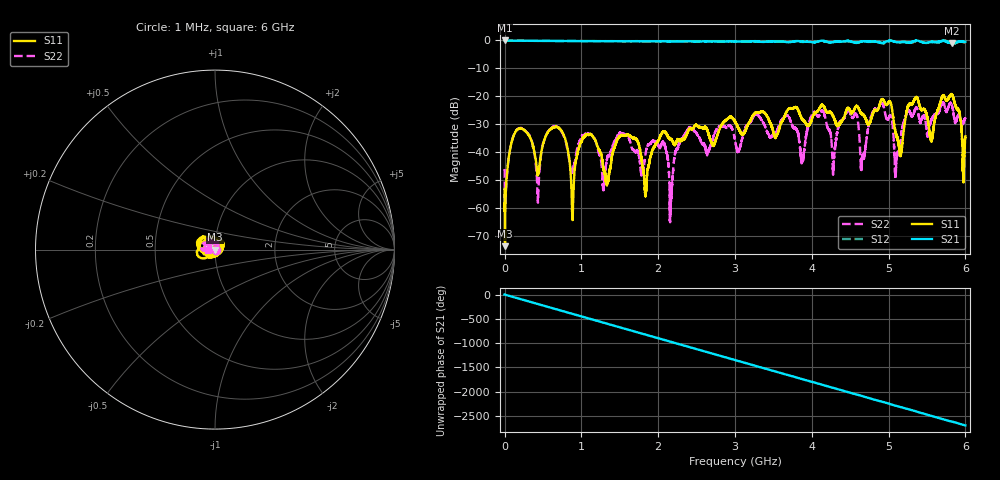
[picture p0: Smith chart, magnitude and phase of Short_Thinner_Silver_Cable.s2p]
# GHZ S RI R 50.000000000000
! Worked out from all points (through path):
!   10000 points, 1 MHz to 6 GHz, reference 50 ohm
!   highest |S21| = -0.01 dB at 1.6 MHz (marker M1); lowest = -1.1 dB at 5.824 GHz (marker M2)
!   group delay of S21, straight-line fit = 1.25 ns
!   lowest |S11| = -73.7 dB at 6.4 MHz (marker M3), VSWR 1.00, Z = 50 + j0.0144 ohm
!   |S11| at or under -10 dB: start of sweep to end of sweep
!   |S22| runs from -65.1 to -22.0 dB; largest |S21 - S12| = 0.058
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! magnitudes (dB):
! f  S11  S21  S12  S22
! 1 MHz  -53.2  0.0  0.0  -46.0
! 1.6 MHz  -60.7  0.0  0.0  -48.5
! 6.4 MHz  -73.7  0.0  0.0  -53.5
! 173.8 MHz  -31.8  -0.1  -0.1  -31.6
! 434.8 MHz  -48.1  -0.1  -0.1  -58.1
! 727 MHz  -31.8  -0.2  -0.2  -32.0
! 884.7 MHz  -64.1  -0.2  -0.2  -47.0
! 1.001 GHz  -36.2  -0.2  -0.2  -34.3
! 1.833 GHz  -54.3  -0.3  -0.3  -41.2
! 2.001 GHz  -35.9  -0.3  -0.3  -37.5
! 2.167 GHz  -35.7  -0.3  -0.3  -56.2
! 2.401 GHz  -31.7  -0.3  -0.3  -31.2
! 3.001 GHz  -29.1  -0.4  -0.4  -35.7
! 3.877 GHz  -28.2  -0.4  -0.5  -43.0
! 4.001 GHz  -28.2  -0.6  -0.5  -26.7
! 4.284 GHz  -27.4  -0.6  -0.5  -45.1
! 4.57 GHz  -23.7  -0.9  -0.8  -26.1
! 4.66 GHz  -26.4  -0.3  -0.4  -41.5
! 5 GHz  -22.1  -0.1  -0.4  -27.6
! 5.153 GHz  -40.6  -0.6  -0.6  -36.9
! 5.824 GHz  -19.4  -1.1  -1.1  -22.9
! 6 GHz  -34.3  -0.5  -0.6  -27.7
